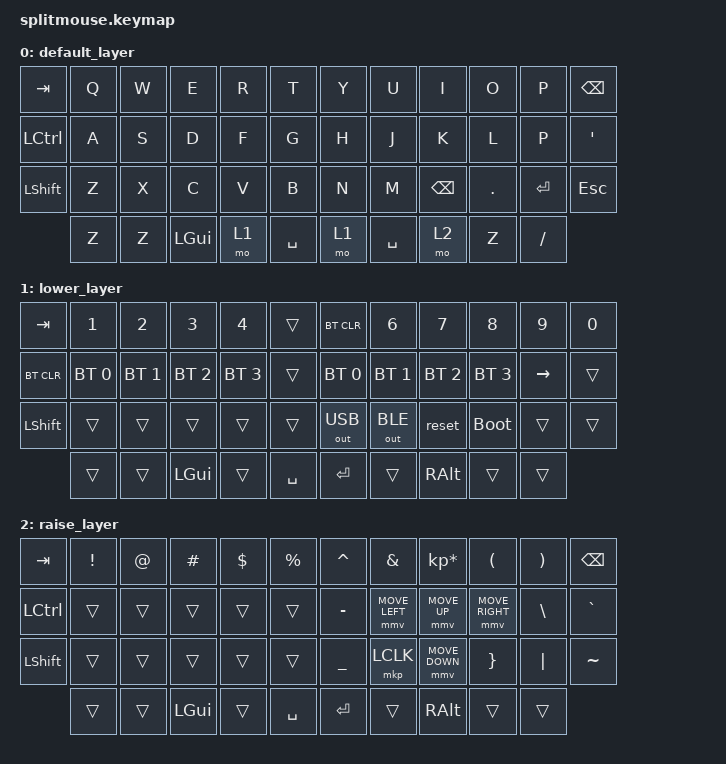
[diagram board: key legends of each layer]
/*
 * Copyright (c) 2020 The ZMK Contributors
 *
 * SPDX-License-Identifier: MIT
 */

#include <behaviors.dtsi>
#include <dt-bindings/zmk/keys.h>
#include <dt-bindings/zmk/bt.h>
#include <dt-bindings/zmk/outputs.h>
#include <dt-bindings/zmk/mouse.h>

/ {
        keymap {
                compatible = "zmk,keymap";

                default_layer {
// -----------------------------------------------------------------------------------------
// |  TAB |  Q  |  W  |  E  |  R  |  T  |   |  Y  |  U   |  I  |  O  |  P  | BKSP |
// | CTRL |  A  |  S  |  D  |  F  |  G  |   |  H  |  J   |  K  |  L  |  ;  |  '   |
// | SHFT |  Z  |  X  |  C  |  V  |  B  |   |  N  |  M   |  ,  |  .  |  /  | ESC  |
//                    | GUI | LWR | SPC |   | ENT | RSE  | ALT |
                        bindings = <
   &kp TAB     &kp Q    &kp W    &kp E    &kp R    &kp T      &kp Y     &kp U     &kp I     &kp O     &kp P       &kp BSPC
   &kp LCTRL   &kp A    &kp S    &kp D    &kp F    &kp G      &kp H     &kp J     &kp K     &kp L     &kp P       &kp SQT
   &kp LSHFT   &kp Z    &kp X    &kp C    &kp V    &kp B      &kp N     &kp M     &kp BSPC  &kp DOT   &kp RET     &kp ESC
               &kp Z    &kp Z    &kp LGUI &mo 1    &kp SPACE  &mo 1     &kp SPACE &mo 2     &kp Z     &kp FSLH
                        >;
                };
                lower_layer {
// -----------------------------------------------------------------------------------------
// |  TAB |  1  |  2  |  3  |  4  |  5  |   |  6  |  7  |  8  |  9  |  0  | BKSP |
// | BTCLR| BT1 | BT2 | BT3 | BT4 | BT5 |   | LFT | DWN |  UP | RGT |     |      |
// | SHFT |     |     |     |     |     |   |     |     |     |     |     |      |
//                    | GUI |     | SPC |   | ENT |     | ALT |
                        bindings = <
   &kp TAB    &kp N1       &kp N2       &kp N3       &kp N4       &trans &bt BT_CLR          &kp N6   &kp N7   &kp N8 &kp N9    &kp N0
   &bt BT_CLR &bt BT_SEL 0 &bt BT_SEL 1 &bt BT_SEL 2 &bt BT_SEL 3 &trans &bt BT_SEL 0   &bt BT_SEL 1 &bt BT_SEL 2 &bt BT_SEL 3 &kp RIGHT &trans
   &kp LSHFT  &trans       &trans       &trans       &trans       &trans &out OUT_USB   &out OUT_BLE   &reset   &bootloader &trans    &trans
              &trans       &trans       &kp LGUI     &trans       &kp SPACE      &kp RET  &trans   &kp RALT &trans &trans
                        >;
                };

                raise_layer {
// -----------------------------------------------------------------------------------------
// |  TAB |  !  |  @  |  #  |  $  |  %  |   |  ^  |  &  |  *  |  (  |  )  | BKSP |
// | CTRL |     |     |     |     |     |   |  -  |  =  |  [  |  ]  |  \  |  `   |
// | SHFT |     |     |     |     |     |   |  _  |  +  |  {  |  }  | "|" |  ~   |
//                    | GUI |     | SPC |   | ENT |     | ALT |
                        bindings = <
   &kp  TAB  &kp EXCL &kp AT &kp HASH &kp DLLR &kp PRCNT   &kp CARET &kp AMPS       &kp KP_MULTIPLY   &kp LPAR &kp RPAR &kp BSPC
   &kp LCTRL &trans   &trans &trans   &trans   &trans      &kp MINUS &mmv MOVE_LEFT &mmv MOVE_UP      &mmv MOVE_RIGHT &kp BSLH &kp GRAVE
   &kp LSHFT &trans   &trans &trans   &trans   &trans      &kp UNDER &mkp LCLK      &mmv MOVE_DOWN    &kp RBRC &kp PIPE &kp TILDE
             &trans   &trans &kp LGUI &trans   &kp SPACE   &kp RET   &trans         &kp RALT          &trans &trans
                        >;
                };
        };
};
